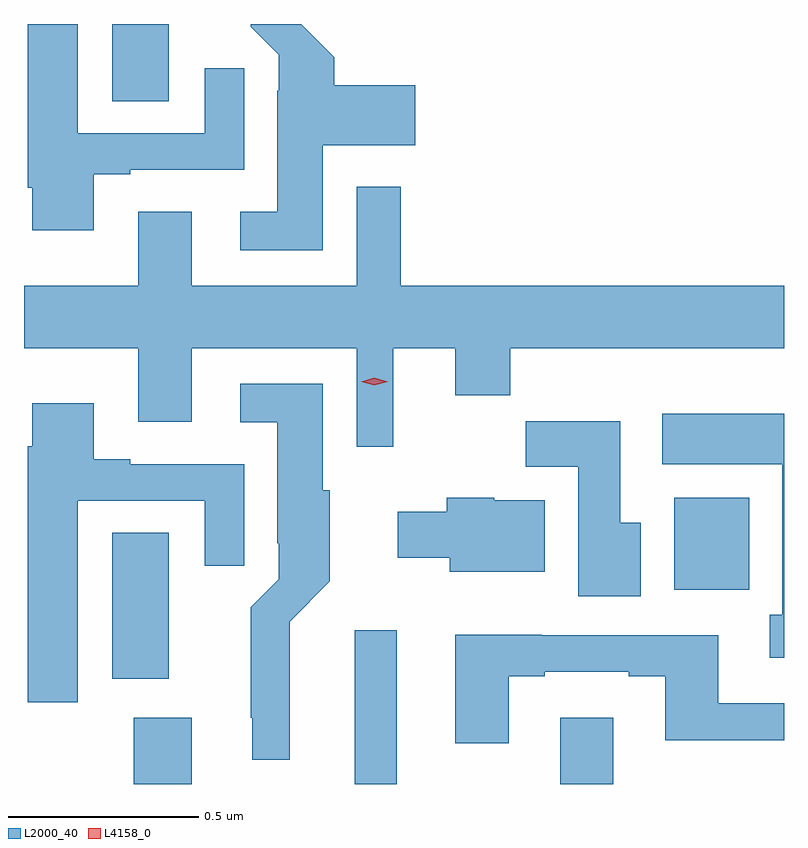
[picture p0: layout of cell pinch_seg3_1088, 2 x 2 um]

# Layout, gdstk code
import gdstk
lib = gdstk.Library(unit=1e-6, precision=1e-09)
def R(c, l, rs):  # rectangles x0, y0, x1, y1
    for r in rs: c.add(gdstk.rectangle(r[:2], r[2:], *l))
def P(c, l, *ps):  # polygons
    for p in ps: c.add(gdstk.Polygon(p, *l))
L2000_40 = (2000, 40)
L4158_0 = (4158, 0)

pinch_seg3_1088 = lib.new_cell('pinch_seg3_1088')
R(pinch_seg3_1088, L2000_40, [(264.209,717.085,264.361,717.259), (264.791,717.085,264.901,717.49), (265.331,717.085,265.471,717.259), (264.152,717.362,264.301,717.746), (265.631,717.596,265.828,717.838), (264.152,718.882,264.301,719.085)])
P(pinch_seg3_1088, L2000_40, [(264.706,718.766),(264.949,718.766),(264.949,718.924),(264.737,718.924),(264.737,718.998),(264.65,719.085),(264.517,719.085),(264.517,719.078),(264.591,719.004),(264.591,718.91),(264.587,718.91),(264.587,718.591),(264.489,718.591),(264.489,718.49),(264.706,718.49)],
  [(264.103,718.689),(264.199,718.689),(264.199,718.701),(264.499,718.701),(264.499,718.969),(264.395,718.969),(264.395,718.797),(264.061,718.797),(264.061,719.085),(263.93,719.085),(263.93,718.654),(263.942,718.654),(263.942,718.542),(264.103,718.542)],
  [(264.892,718.232),(265.055,718.232),(265.055,718.108),(265.199,718.108),(265.199,718.232),(265.92,718.232),(265.92,718.396),(264.911,718.396),(264.911,718.657),(264.795,718.657),(264.795,718.396),(264.361,718.396),(264.361,718.591),(264.221,718.591),(264.221,718.396),(263.92,718.396),(263.92,718.232),(264.221,718.232),(264.221,718.038),(264.361,718.038),(264.361,718.232),(264.795,718.232),(264.795,717.972),(264.892,717.972)],
  [(264.619,717.512),(264.724,717.618),(264.724,717.858),(264.706,717.858),(264.706,718.138),(264.489,718.138),(264.489,718.037),(264.587,718.037),(264.587,717.718),(264.591,717.718),(264.591,717.624),(264.517,717.55),(264.517,717.259),(264.521,717.259),(264.521,717.149),(264.619,717.149)],
  [(264.061,717.831),(264.395,717.831),(264.395,717.66),(264.499,717.66),(264.499,717.927),(264.199,717.927),(264.199,717.94),(264.103,717.94),(264.103,718.087),(263.942,718.087),(263.942,717.974),(263.93,717.974),(263.93,717.3),(264.061,717.3)],
  [(265.92,718.06),(265.599,718.06),(265.599,717.926),(265.916,717.926),(265.916,717.53),(265.883,717.53),(265.883,717.417),(265.92,717.417)],
  [(265.543,717.772),(265.489,717.772),(265.489,718.039),(265.24,718.039),(265.24,717.92),(265.379,717.92),(265.379,717.579),(265.543,717.579)],
  [(265.291,717.832),(265.158,717.832),(265.158,717.838),(265.033,717.838),(265.033,717.802),(264.903,717.802),(264.903,717.68),(265.04,717.68),(265.04,717.644),(265.291,717.644)],
  [(265.195,717.369),(265.291,717.369),(265.291,717.381),(265.511,717.381),(265.511,717.369),(265.607,717.369),(265.607,717.2),(265.92,717.2),(265.92,717.297),(265.747,717.297),(265.747,717.477),(265.283,717.477),(265.283,717.478),(265.055,717.478),(265.055,717.192),(265.195,717.192)])
P(pinch_seg3_1088, L4158_0, [(264.842,718.134),(264.807,718.144),(264.807,718.144),(264.807,718.144),(264.842,718.154),(264.877,718.144),(264.877,718.144),(264.877,718.144)])

lib.write_gds('pinch_seg3_1088.gds')
